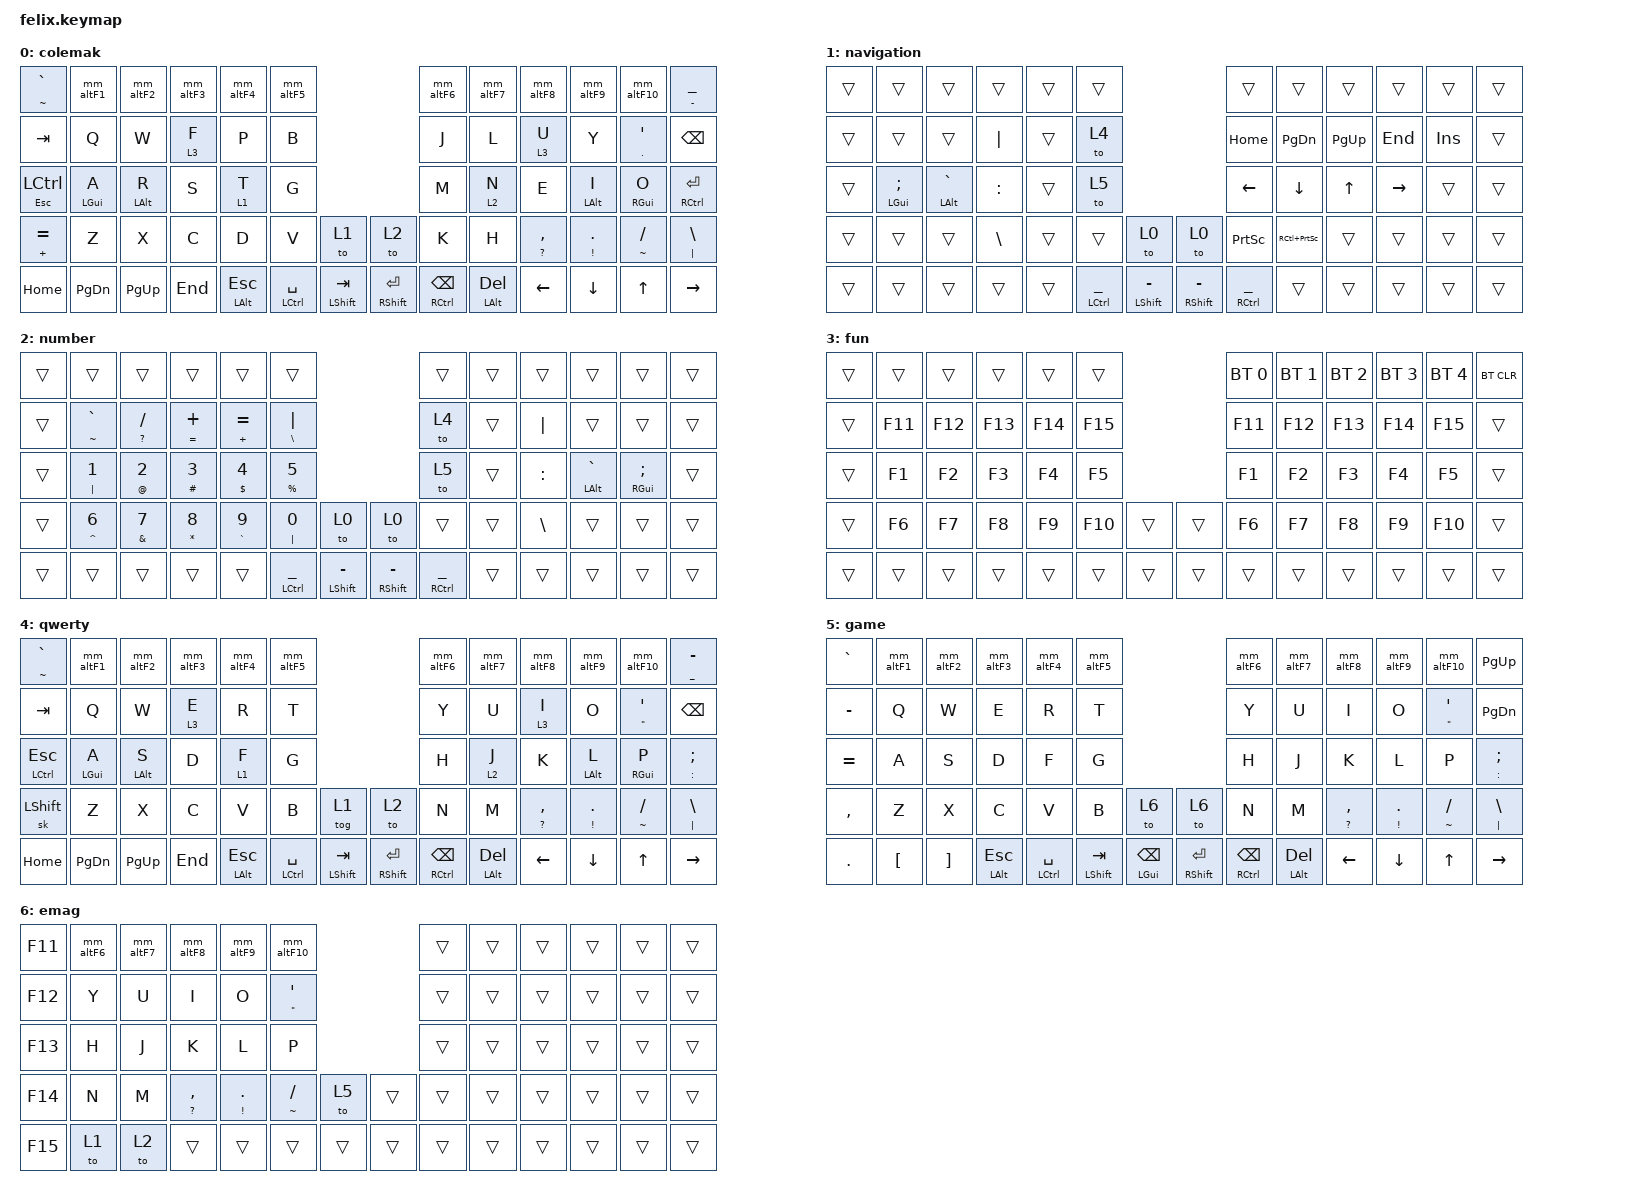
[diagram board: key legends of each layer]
/*
 * Copyright (c) 2020 The ZMK Contributors
 *
 * SPDX-License-Identifier: MIT
 */

#include <behaviors.dtsi>
#include <dt-bindings/zmk/bt.h>
#include <dt-bindings/zmk/keys.h>

&caps_word { continue-list = <UNDERSCORE MINUS>; };

&lt {
    tapping-term-ms = <150>;
    quick-tap-ms = <200>;
    flavor = "balanced";
    require-prior-idle-ms = <125>;
};

&mt {
    tapping-term-ms = <150>;
    quick-tap-ms = <200>;
    flavor = "balanced";
    require-prior-idle-ms = <125>;
};

/ {
    behaviors {
        hml: home_row_mod_left {
            display-name = "Home Row Mod (Left)";
            compatible = "zmk,behavior-hold-tap";
            #binding-cells = <2>;
            bindings = <&kp>, <&kp>;

            tapping-term-ms = <280>;
            quick-tap-ms = <175>;
            require-prior-idle-ms = <150>;
            flavor = "balanced";
            hold-trigger-on-release;
            hold-trigger-key-positions = <6 7 8 9 10 11 18 19 20 21 22 23 30 31 32 33 34 35 43 44 45 46 47 48 49 57 58 59 60 61 62 63>;
        };

        hmr: home_row_mod_right {
            display-name = "Home Row Mod (Right)";
            compatible = "zmk,behavior-hold-tap";
            bindings = <&kp>, <&kp>;

            #binding-cells = <2>;
            tapping-term-ms = <280>;
            quick-tap-ms = <175>;
            require-prior-idle-ms = <150>;
            flavor = "balanced";
            hold-trigger-on-release;
            hold-trigger-key-positions = <0 1 2 3 4 5 12 13 14 15 16 16 24 25 26 27 28 29 36 37 38 39 40 41 42 50 51 52 53 54 55 56 17>;
        };

        hll: home_row_layer_tap_left {
            compatible = "zmk,behavior-hold-tap";
            bindings = <&mo>, <&kp>;

            #binding-cells = <2>;
            tapping-term-ms = <280>;
            quick-tap-ms = <175>;
            require-prior-idle-ms = <150>;
            flavor = "balanced";
            hold-trigger-on-release;
            hold-trigger-key-positions = <6 7 8 9 10 11 18 19 20 21 22 23 30 31 32 33 34 35 43 44 45 46 47 48 49 57 58 59 60 61 62 63>;
        };

        hlr: home_row_layer_tap_right {
            compatible = "zmk,behavior-hold-tap";
            bindings = <&mo>, <&kp>;

            #binding-cells = <2>;
            tapping-term-ms = <280>;
            quick-tap-ms = <175>;
            require-prior-idle-ms = <150>;
            flavor = "balanced";
            hold-trigger-on-release;
            hold-trigger-key-positions = <0 1 2 3 4 5 12 13 14 15 16 16 24 25 26 27 28 29 36 37 38 39 40 41 42 50 51 52 53 54 55 56 17>;
        };

        as: hold_tap_autoshift {
            compatible = "zmk,behavior-hold-tap";
            bindings = <&sh>, <&kp>;

            #binding-cells = <2>;
            tapping-term-ms = <150>;
            quick-tap-ms = <0>;
            flavor = "tap-preferred";
        };

        mm_altF1: mod_morph_alt_F1 {
            compatible = "zmk,behavior-mod-morph";
            bindings = <&kp N1>, <&kp F1>;

            #binding-cells = <0>;
            mods = <(MOD_LALT|MOD_RALT)>;
        };

        mm_altF2: mod_morph_alt_F2 {
            compatible = "zmk,behavior-mod-morph";
            bindings = <&kp N2>, <&kp F2>;

            #binding-cells = <0>;
            mods = <(MOD_LALT|MOD_RALT)>;
        };

        mm_altF3: mod_morph_alt_F3 {
            compatible = "zmk,behavior-mod-morph";
            bindings = <&kp N3>, <&kp F3>;

            #binding-cells = <0>;
            mods = <(MOD_LALT|MOD_RALT)>;
        };

        mm_altF4: mod_morph_alt_F4 {
            compatible = "zmk,behavior-mod-morph";
            bindings = <&kp N4>, <&kp F4>;

            #binding-cells = <0>;
            mods = <(MOD_LALT|MOD_RALT)>;
        };

        mm_altF5: mod_morph_alt_F5 {
            compatible = "zmk,behavior-mod-morph";
            bindings = <&kp N5>, <&kp F5>;

            #binding-cells = <0>;
            mods = <(MOD_LALT|MOD_RALT)>;
        };

        mm_altF6: mod_morph_alt_F6 {
            compatible = "zmk,behavior-mod-morph";
            bindings = <&kp N6>, <&kp F6>;

            #binding-cells = <0>;
            mods = <(MOD_LALT|MOD_RALT)>;
        };

        mm_altF7: mod_morph_alt_F7 {
            compatible = "zmk,behavior-mod-morph";
            bindings = <&kp N7>, <&kp F7>;

            #binding-cells = <0>;
            mods = <(MOD_LALT|MOD_RALT)>;
        };

        mm_altF8: mod_morph_alt_F8 {
            compatible = "zmk,behavior-mod-morph";
            bindings = <&kp N8>, <&kp F8>;

            #binding-cells = <0>;
            mods = <(MOD_LALT|MOD_RALT)>;
        };

        mm_altF9: mod_morph_alt_F9 {
            compatible = "zmk,behavior-mod-morph";
            bindings = <&kp N9>, <&kp F9>;

            #binding-cells = <0>;
            mods = <(MOD_LALT|MOD_RALT)>;
        };

        mm_altF10: mod_morph_alt_F10 {
            compatible = "zmk,behavior-mod-morph";
            bindings = <&kp N0>, <&kp F10>;

            #binding-cells = <0>;
            mods = <(MOD_LALT|MOD_RALT)>;
        };
    };

    macros {
        sh: shifted_keypress {
            display-name = "Shifted Keypress";
            compatible = "zmk,behavior-macro-one-param";
            #binding-cells = <1>;
            bindings =
                <&macro_press>,
                <&kp LSHFT &macro_param_1to1 &kp MACRO_PLACEHOLDER>,
                <&macro_pause_for_release>,
                <&macro_release>,
                <&macro_param_1to1 &kp MACRO_PLACEHOLDER &kp LSHFT>;
        };
    };

    combos {
        compatible = "zmk,combos";

        lbrc {
            bindings = <&kp LBRC>;
            key-positions = <14 26>;
            layers = <0>;
        };

        lbkt {
            bindings = <&kp LBKT>;
            key-positions = <15 27>;
            layers = <0>;
        };

        lpar {
            bindings = <&kp LPAR>;
            key-positions = <16 28>;
            layers = <0>;
        };

        lt {
            bindings = <&kp LT>;
            key-positions = <17 29>;
            layers = <0>;
        };

        gt {
            bindings = <&kp GT>;
            key-positions = <18 30>;
            layers = <0>;
        };

        rpar {
            bindings = <&kp RPAR>;
            key-positions = <19 31>;
            layers = <0>;
        };

        rbkt {
            bindings = <&kp RBKT>;
            key-positions = <20 32>;
            layers = <0>;
        };

        rbrc {
            bindings = <&kp RBRC>;
            key-positions = <21 33>;
            layers = <0>;
        };

        launcher_l {
            bindings = <&kp LG(SPACE)>;
            key-positions = <28 26>;
        };

        launcher_r {
            bindings = <&kp RG(SPACE)>;
            key-positions = <31 33>;
        };

        colemak {
            bindings = <&to 0>;
            key-positions = <0 1 2>;
        };

        qwerty {
            bindings = <&to 4>;
            key-positions = <1 2 3>;
            layers = <0>;
        };

        fun {
            bindings = <&sl 3>;
            key-positions = <2 3 4>;
            layers = <0>;
        };

        game {
            bindings = <&to 5>;
            key-positions = <3 4 5>;
        };

        bt_clr_all {
            bindings = <&bt BT_CLR_ALL>;
            key-positions = <9 11 10>;
            layers = <3>;
        };
    };

    keymap {
        compatible = "zmk,keymap";

        cmak {
            display-name = "colemak";
            bindings = <
&as TILDE GRAVE  &mm_altF1    &mm_altF2    &mm_altF3  &mm_altF4     &mm_altF5                                            &mm_altF6       &mm_altF7     &mm_altF8        &mm_altF9     &mm_altF10      &as MINUS UNDER
&kp TAB          &kp Q        &kp W        &lt 3 F    &kp P         &kp B                                                &kp J           &kp L         &lt 3 U          &kp Y         &as DOT SQT     &kp BSPC
&hml ESC LCTRL   &hml LGUI A  &hml LALT R  &kp S      &hll 1 T      &kp G                                                &kp M           &hlr 2 N      &kp E            &hmr LALT I   &hmr RGUI O     &hmr RCTRL RET
&as PLUS EQUAL   &kp Z        &kp X        &kp C      &kp D         &kp V            &to 1                &to 2          &kp K           &kp H         &as QMARK COMMA  &as EXCL DOT  &as TILDE FSLH  &as PIPE BSLH
&kp HOME         &kp PG_DN    &kp PG_UP    &kp END    &mt LALT ESC  &mt LCTRL SPACE  &mt LSHFT TAB        &mt RSHFT RET  &mt RCTRL BSPC  &mt LALT DEL  &kp LEFT         &kp DOWN      &kp UP          &kp RIGHT
            >;
        };

        nav {
            display-name = "navigation";
            bindings = <
&trans  &trans          &trans           &trans     &trans  &trans                                                   &trans           &trans         &trans     &trans     &trans   &trans
&trans  &trans          &trans           &kp PIPE   &trans  &to 4                                                    &kp HOME         &kp PG_DN      &kp PG_UP  &kp END    &kp INS  &trans
&trans  &hml LGUI SEMI  &hml LALT GRAVE  &kp COLON  &trans  &to 5                                                    &kp LEFT         &kp DOWN       &kp UP     &kp RIGHT  &trans   &trans
&trans  &trans          &trans           &kp BSLH   &trans  &trans           &to 0                  &to 0            &kp PSCRN        &kp RC(PSCRN)  &trans     &trans     &trans   &trans
&trans  &trans          &trans           &trans     &trans  &mt LCTRL UNDER  &mt LSHFT MINUS        &mt RSHFT MINUS  &mt RCTRL UNDER  &trans         &trans     &trans     &trans   &trans
            >;
        };

        num {
            display-name = "number";
            bindings = <
&trans  &trans           &trans          &trans          &trans          &trans                                                   &trans           &trans  &trans     &trans           &trans          &trans
&trans  &as TILDE GRAVE  &as QMARK FSLH  &as EQUAL PLUS  &as PLUS EQUAL  &as BSLH PIPE                                            &to 4            &trans  &kp PIPE   &trans           &trans          &trans
&trans  &as PIPE N1      &as AT N2       &as HASH N3     &as DLLR N4     &as PRCNT N5                                             &to 5            &trans  &kp COLON  &hmr LALT GRAVE  &hmr RGUI SEMI  &trans
&trans  &as CARET N6     &as AMPS N7     &as STAR N8     &as GRAVE N9    &as PIPE N0      &to 0                  &to 0            &trans           &trans  &kp BSLH   &trans           &trans          &trans
&trans  &trans           &trans          &trans          &trans          &mt LCTRL UNDER  &mt LSHFT MINUS        &mt RSHFT MINUS  &mt RCTRL UNDER  &trans  &trans     &trans           &trans          &trans
            >;
        };

        fun {
            display-name = "fun";
            bindings = <
&trans  &trans   &trans   &trans   &trans   &trans                         &bt BT_SEL 0  &bt BT_SEL 1  &bt BT_SEL 2  &bt BT_SEL 3  &bt BT_SEL 4  &bt BT_CLR
&trans  &kp F11  &kp F12  &kp F13  &kp F14  &kp F15                        &kp F11       &kp F12       &kp F13       &kp F14       &kp F15       &trans
&trans  &kp F1   &kp F2   &kp F3   &kp F4   &kp F5                         &kp F1        &kp F2        &kp F3        &kp F4        &kp F5        &trans
&trans  &kp F6   &kp F7   &kp F8   &kp F9   &kp F10  &trans        &trans  &kp F6        &kp F7        &kp F8        &kp F9        &kp F10       &trans
&trans  &trans   &trans   &trans   &trans   &trans   &trans        &trans  &trans        &trans        &trans        &trans        &trans        &trans
            >;
        };

        qwty {
            display-name = "qwerty";
            bindings = <
&as TILDE GRAVE  &mm_altF1    &mm_altF2    &mm_altF3  &mm_altF4     &mm_altF5                                            &mm_altF6       &mm_altF7     &mm_altF8        &mm_altF9     &mm_altF10      &as UNDER MINUS
&kp TAB          &kp Q        &kp W        &lt 3 E    &kp R         &kp T                                                &kp Y           &kp U         &lt 3 I          &kp O         &as DQT SQT     &kp BSPC
&as LCTRL ESC    &hml LGUI A  &hml LALT S  &kp D      &hll 1 F      &kp G                                                &kp H           &hlr 2 J      &kp K            &hmr LALT L   &hmr RGUI P     &as COLON SEMI
&sk LSHFT        &kp Z        &kp X        &kp C      &kp V         &kp B            &tog 1               &to 2          &kp N           &kp M         &as QMARK COMMA  &as EXCL DOT  &as TILDE FSLH  &as PIPE BSLH
&kp HOME         &kp PG_DN    &kp PG_UP    &kp END    &mt LALT ESC  &mt LCTRL SPACE  &mt LSHFT TAB        &mt RSHFT RET  &mt RCTRL BSPC  &mt LALT DEL  &kp LEFT         &kp DOWN      &kp UP          &kp RIGHT
            >;
        };

        game {
            display-name = "game";
            bindings = <
&kp GRAVE  &mm_altF1  &mm_altF2  &mm_altF3     &mm_altF4        &mm_altF5                                          &mm_altF6       &mm_altF7     &mm_altF8        &mm_altF9     &mm_altF10      &kp PG_UP
&kp MINUS  &kp Q      &kp W      &kp E         &kp R            &kp T                                              &kp Y           &kp U         &kp I            &kp O         &as DQT SQT     &kp PG_DN
&kp EQUAL  &kp A      &kp S      &kp D         &kp F            &kp G                                              &kp H           &kp J         &kp K            &kp L         &kp P           &as COLON SEMI
&kp COMMA  &kp Z      &kp X      &kp C         &kp V            &kp B          &to 6                &to 6          &kp N           &kp M         &as QMARK COMMA  &as EXCL DOT  &as TILDE FSLH  &as PIPE BSLH
&kp DOT    &kp LBKT   &kp RBKT   &mt LALT ESC  &mt LCTRL SPACE  &mt LSHFT TAB  &mt LGUI BSPC        &mt RSHFT RET  &mt RCTRL BSPC  &mt LALT DEL  &kp LEFT         &kp DOWN      &kp UP          &kp RIGHT
            >;
        };

        emag {
            display-name = "emag";
            bindings = <
&kp F11  &mm_altF6  &mm_altF7  &mm_altF8        &mm_altF9     &mm_altF10                            &trans  &trans  &trans  &trans  &trans  &trans
&kp F12  &kp Y      &kp U      &kp I            &kp O         &as DQT SQT                           &trans  &trans  &trans  &trans  &trans  &trans
&kp F13  &kp H      &kp J      &kp K            &kp L         &kp P                                 &trans  &trans  &trans  &trans  &trans  &trans
&kp F14  &kp N      &kp M      &as QMARK COMMA  &as EXCL DOT  &as TILDE FSLH  &to 5         &trans  &trans  &trans  &trans  &trans  &trans  &trans
&kp F15  &to 1      &to 2      &trans           &trans        &trans          &trans        &trans  &trans  &trans  &trans  &trans  &trans  &trans
            >;
        };
    };
};
